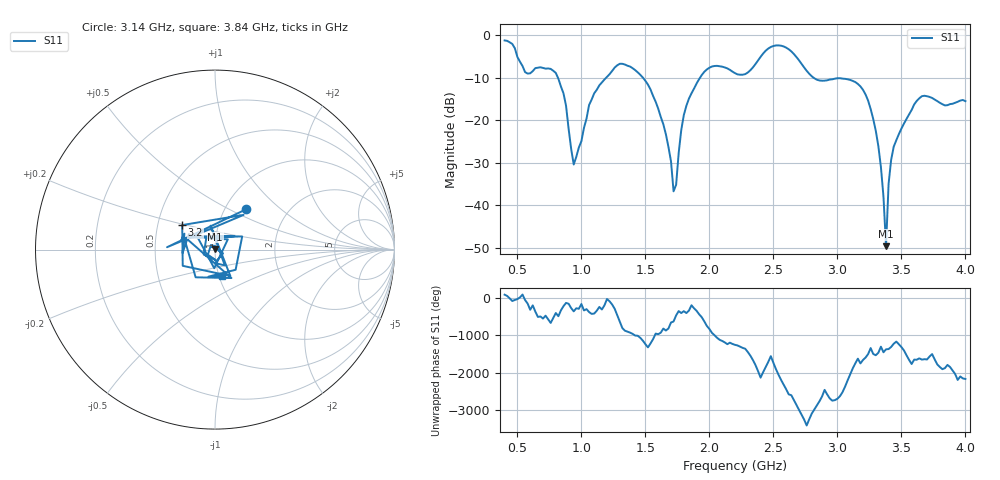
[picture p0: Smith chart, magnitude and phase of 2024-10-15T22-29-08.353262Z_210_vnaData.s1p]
! Created with skrf (http://scikit-rf.org).
# Hz S RI R 50.0
!freq ReS11 ImS11
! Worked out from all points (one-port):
!   181 points, 400 MHz to 4 GHz, reference 50 ohm
!   lowest |S11| = -49.6 dB at 3.38 GHz (marker M1), VSWR 1.01, Z = 50.1 + j0.306 ohm
!   |S11| at or under -10 dB: 817 MHz to 1.193 GHz (376.2 MHz wide, 37.4 % of centre); 1.482 GHz to 1.926 GHz (444.8 MHz wide, 26.1 % of centre); 2.815 GHz to end of sweep
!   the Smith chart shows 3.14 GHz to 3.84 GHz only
!   S11 on the Smith chart (normalised r, x): 3.14 GHz: 1.25, +0.61; 3.2 GHz: 0.67, +0.19; 3.84 GHz: 1.03, -0.31
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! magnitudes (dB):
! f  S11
! 400 MHz  -1.2
! 800 MHz  -8.9
! 860 MHz  -13.7
! 940 MHz  -30.4
! 1.1 GHz  -13.7
! 1.3 GHz  -6.7
! 1.54 GHz  -12.7
! 1.66 GHz  -23.3
! 1.72 GHz  -36.7
! 1.76 GHz  -27.7
! 1.82 GHz  -16.6
! 1.94 GHz  -9.4
! 2.2 GHz  -8.9
! 2.5 GHz  -2.5
! 2.66 GHz  -4.4
! 2.84 GHz  -10.5
! 3.1 GHz  -10.5
! 3.14 GHz  -11.0
! 3.2 GHz  -12.8
! 3.32 GHz  -26.1
! 3.36 GHz  -38.0
! 3.38 GHz  -49.6
! 3.4 GHz  -34.9
! 3.42 GHz  -29.3
! 3.56 GHz  -18.6
! 3.66 GHz  -14.3
! 3.84 GHz  -16.5
! 4 GHz  -15.5
